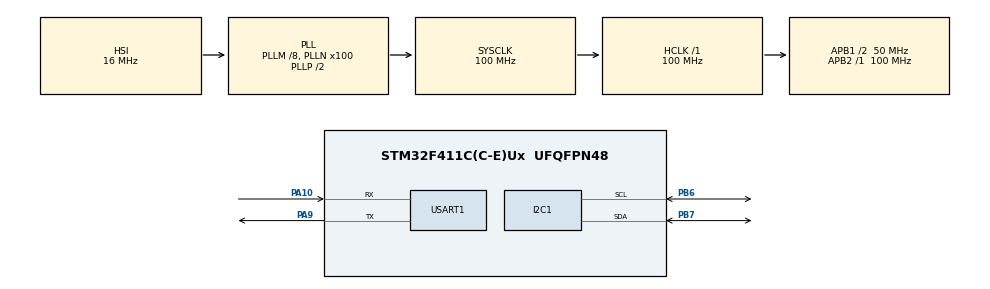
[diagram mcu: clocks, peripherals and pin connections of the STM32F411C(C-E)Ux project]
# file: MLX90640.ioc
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I2C1.I2C_Mode=I2C_Fast
Mcu.Family=STM32F4
Mcu.Name=STM32F411C(C-E)Ux
Mcu.Package=UFQFPN48
NVIC.PriorityGroup=NVIC_PRIORITYGROUP_4
PA10.Mode=Asynchronous
PA10.Signal=USART1_RX
PA13.Mode=Serial_Wire
PA13.Signal=SYS_JTMS-SWDIO
PA14.Mode=Serial_Wire
PA14.Signal=SYS_JTCK-SWCLK
PA9.Mode=Asynchronous
PA9.Signal=USART1_TX
PB6.Mode=I2C
PB6.Signal=I2C1_SCL
PB7.Mode=I2C
PB7.Signal=I2C1_SDA
PH0\ -\ OSC_IN.Mode=HSE-External-Oscillator
PH0\ -\ OSC_IN.Signal=RCC_OSC_IN
PH1\ -\ OSC_OUT.Mode=HSE-External-Oscillator
PH1\ -\ OSC_OUT.Signal=RCC_OSC_OUT
ProjectManager.HeapSize=0x200
ProjectManager.StackSize=0x400
ProjectManager.TargetToolchain=STM32CubeIDE
RCC.48MHZClocksFreq_Value=50000000
RCC.AHBFreq_Value=100000000
RCC.APB1CLKDivider=RCC_HCLK_DIV2
RCC.APB1Freq_Value=50000000
RCC.APB1TimFreq_Value=100000000
RCC.APB2Freq_Value=100000000
RCC.APB2TimFreq_Value=100000000
RCC.CortexFreq_Value=100000000
RCC.HCLKFreq_Value=100000000
RCC.HSE_VALUE=25000000
RCC.HSI_VALUE=16000000
RCC.LSE_VALUE=32768
RCC.PLLM=8
RCC.PLLN=100
RCC.SYSCLKFreq_VALUE=100000000
RCC.SYSCLKSource=RCC_SYSCLKSOURCE_PLLCLK
RCC.VCOOutputFreq_Value=200000000
USART1.VirtualMode=VM_ASYNC
board=custom

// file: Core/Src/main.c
/* USER CODE BEGIN Header */
/**
  ******************************************************************************
  * @file           : main.c
  * @brief          : Main program body
  ******************************************************************************
  * @attention
  *
  * Copyright (c) 2026 STMicroelectronics.
  * All rights reserved.
  *
  * This software is licensed under terms that can be found in the LICENSE file
  * in the root directory of this software component.
  * If no LICENSE file comes with this software, it is provided AS-IS.
  *
  ******************************************************************************
  */
/* USER CODE END Header */
#include "main.h"

/* USER CODE BEGIN Includes */
#include "MLX90640_API.h"
#include "MLX90640_I2C_Driver.h"
#include <stdio.h>
#include <string.h>
/* USER CODE END Includes */

/* USER CODE BEGIN PD */
#define MLX90640_ADDR 0x33
/* USER CODE END PD */

I2C_HandleTypeDef hi2c1;

UART_HandleTypeDef huart1;

/* USER CODE BEGIN PV */
uint16_t eeMLX90640[832];       // Mảng chứa dữ liệu EEPROM
uint16_t frame[834];            // Mảng chứa dữ liệu thô của 1 khung hình
float MLX90640To[768];          // Mảng chứa nhiệt độ (độ C) của 32x24 pixels
paramsMLX90640 mlx90640Params;	// Chứa tham số calib
char txBuff[6000];
/* USER CODE END PV */

void SystemClock_Config(void);
static void MX_GPIO_Init(void);
static void MX_I2C1_Init(void);
static void MX_USART1_UART_Init(void);
/* USER CODE BEGIN PFP */
void MLX90640_Setup(void);
void MLX90640_Process(void);
/* USER CODE END PFP */

/* USER CODE BEGIN 0 */
void MLX90640_Setup(void)
{
    int status;
    char buffer[50];

    MLX90640_SetChessMode(MLX90640_ADDR);
    // Thiết lập tốc độ làm tươi (Refresh Rate). Ví dụ: 0x03 = 4Hz, 0x04 = 8Hz
    MLX90640_SetRefreshRate(MLX90640_ADDR, 0x04);

    // Đọc toàn bộ bộ nhớ EEPROM của cảm biến
    status = MLX90640_DumpEE(MLX90640_ADDR, eeMLX90640);
    if (status != 0)
    {
        sprintf(buffer, "Loi doc EEPROM!\r\n");
        HAL_UART_Transmit(&huart1, (uint8_t*)buffer, strlen(buffer), 50);
    }

    // Trích xuất các hệ số hiệu chuẩn vào struct
    status = MLX90640_ExtractParameters(eeMLX90640, &mlx90640Params);
    if (status != 0)
    {
        sprintf(buffer, "Loi trich xuat tham so!\r\n");
        HAL_UART_Transmit(&huart1, (uint8_t*)buffer, strlen(buffer), 50);
    }
}

// Đọc khung hình và gửi qua UART
void MLX90640_Process(void)
{
    int subpage;
    float ta, tr, vdd;
    float emissivity = 0.95; // Hệ số phát xạ

    // Đọc dữ liệu thô từ cảm biến
    subpage = MLX90640_GetFrameData(MLX90640_ADDR, frame);

    if (subpage >= 0)
    { // Đọc thành công
    	vdd = MLX90640_GetVdd(frame, &mlx90640Params);
    	ta = MLX90640_GetTa(frame, &mlx90640Params);
    	tr = ta - 8.0f;
        // Tính toán ra nhiệt độ tuyệt đối (To)
        MLX90640_CalculateTo(frame, &mlx90640Params, emissivity, tr, MLX90640To);

        if (subpage == 1)
        {
        	int offset = 0;
			for (int i = 0; i < 768; i++)
			{
                    offset += sprintf(txBuff + offset, "%5.2f ", MLX90640To[i]);

                    // Nếu đã in đủ 32 cột thì xuống dòng để bắt đầu hàng mới
                    if ((i + 1) % 32 == 0)
                    {
                        offset += sprintf(txBuff + offset, "\r\n");
                    }
            }
                // In thêm vạch phân cách giữa các khung hình (Frames) để dễ nhìn
			offset += sprintf(txBuff + offset, "--------------------------------------------------\r\n");
			HAL_UART_Transmit(&huart1, (uint8_t*)txBuff, offset, HAL_MAX_DELAY);
        }
        //HAL_Delay(250);
    }
}
/* USER CODE END 0 */

int main(void)
{

  /* MCU Configuration--------------------------------------------------------*/

  /* Reset of all peripherals, Initializes the Flash interface and the Systick. */
  HAL_Init();

  /* Configure the system clock */
  SystemClock_Config();

  /* Initialize all configured peripherals */
  MX_GPIO_Init();
  MX_I2C1_Init();
  MX_USART1_UART_Init();
  /* USER CODE BEGIN 2 */
  MLX90640_Setup();
  /* USER CODE END 2 */

  /* Infinite loop */
  while (1)
  {
	  MLX90640_Process();
	  //HAL_Delay(580);
  }
}

void SystemClock_Config(void)
{
  RCC_OscInitTypeDef RCC_OscInitStruct = {0};
  RCC_ClkInitTypeDef RCC_ClkInitStruct = {0};

  /** Configure the main internal regulator output voltage
  */
  __HAL_RCC_PWR_CLK_ENABLE();
  __HAL_PWR_VOLTAGESCALING_CONFIG(PWR_REGULATOR_VOLTAGE_SCALE1);

  /** Initializes the RCC Oscillators according to the specified parameters
  * in the RCC_OscInitTypeDef structure.
  */
  RCC_OscInitStruct.OscillatorType = RCC_OSCILLATORTYPE_HSI;
  RCC_OscInitStruct.HSIState = RCC_HSI_ON;
  RCC_OscInitStruct.HSICalibrationValue = RCC_HSICALIBRATION_DEFAULT;
  RCC_OscInitStruct.PLL.PLLState = RCC_PLL_ON;
  RCC_OscInitStruct.PLL.PLLSource = RCC_PLLSOURCE_HSI;
  RCC_OscInitStruct.PLL.PLLM = 8;
  RCC_OscInitStruct.PLL.PLLN = 100;
  RCC_OscInitStruct.PLL.PLLP = RCC_PLLP_DIV2;
  RCC_OscInitStruct.PLL.PLLQ = 4;
  if (HAL_RCC_OscConfig(&RCC_OscInitStruct) != HAL_OK)
  {
    Error_Handler();
  }

  /** Initializes the CPU, AHB and APB buses clocks
  */
  RCC_ClkInitStruct.ClockType = RCC_CLOCKTYPE_HCLK|RCC_CLOCKTYPE_SYSCLK
                              |RCC_CLOCKTYPE_PCLK1|RCC_CLOCKTYPE_PCLK2;
  RCC_ClkInitStruct.SYSCLKSource = RCC_SYSCLKSOURCE_PLLCLK;
  RCC_ClkInitStruct.AHBCLKDivider = RCC_SYSCLK_DIV1;
  RCC_ClkInitStruct.APB1CLKDivider = RCC_HCLK_DIV2;
  RCC_ClkInitStruct.APB2CLKDivider = RCC_HCLK_DIV1;

  if (HAL_RCC_ClockConfig(&RCC_ClkInitStruct, FLASH_LATENCY_3) != HAL_OK)
  {
    Error_Handler();
  }
}

static void MX_I2C1_Init(void)
{

  hi2c1.Instance = I2C1;
  hi2c1.Init.ClockSpeed = 400000;
  hi2c1.Init.DutyCycle = I2C_DUTYCYCLE_2;
  hi2c1.Init.OwnAddress1 = 0;
  hi2c1.Init.AddressingMode = I2C_ADDRESSINGMODE_7BIT;
  hi2c1.Init.DualAddressMode = I2C_DUALADDRESS_DISABLE;
  hi2c1.Init.OwnAddress2 = 0;
  hi2c1.Init.GeneralCallMode = I2C_GENERALCALL_DISABLE;
  hi2c1.Init.NoStretchMode = I2C_NOSTRETCH_DISABLE;
  if (HAL_I2C_Init(&hi2c1) != HAL_OK)
  {
    Error_Handler();
  }

}

static void MX_USART1_UART_Init(void)
{

  huart1.Instance = USART1;
  huart1.Init.BaudRate = 460800;
  huart1.Init.WordLength = UART_WORDLENGTH_8B;
  huart1.Init.StopBits = UART_STOPBITS_1;
  huart1.Init.Parity = UART_PARITY_NONE;
  huart1.Init.Mode = UART_MODE_TX_RX;
  huart1.Init.HwFlowCtl = UART_HWCONTROL_NONE;
  huart1.Init.OverSampling = UART_OVERSAMPLING_16;
  if (HAL_UART_Init(&huart1) != HAL_OK)
  {
    Error_Handler();
  }

}

static void MX_GPIO_Init(void)
{

  /* GPIO Ports Clock Enable */
  __HAL_RCC_GPIOH_CLK_ENABLE();
  __HAL_RCC_GPIOA_CLK_ENABLE();
  __HAL_RCC_GPIOB_CLK_ENABLE();

}

void Error_Handler(void)
{
  __disable_irq();
  while (1)
  {
  }
}
